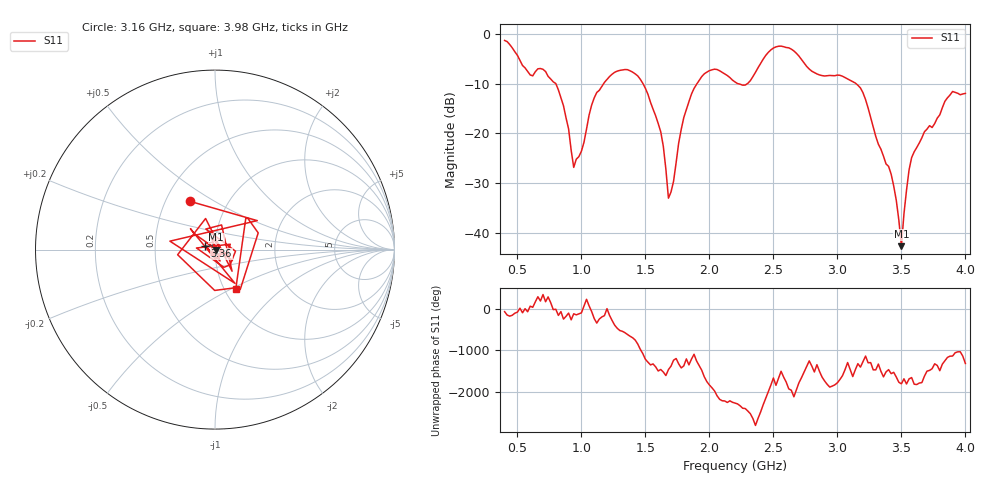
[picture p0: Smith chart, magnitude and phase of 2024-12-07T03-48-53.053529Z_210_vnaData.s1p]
!Created with skrf (http://scikit-rf.org).
# Hz S RI R 50.0
!freq ReS11 ImS11
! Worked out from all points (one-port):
!   181 points, 400 MHz to 4 GHz, reference 50 ohm
!   lowest |S11| = -42.6 dB at 3.5 GHz (marker M1), VSWR 1.01, Z = 50.7 - j0.126 ohm
!   |S11| at or under -10 dB: 800 MHz to 1.174 GHz (374.2 MHz wide, 37.9 % of centre); 1.481 GHz to 1.904 GHz (423.1 MHz wide, 25 % of centre); 3.145 GHz to end of sweep (the widest 3 of 4)
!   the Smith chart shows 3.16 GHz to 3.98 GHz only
!   S11 on the Smith chart (normalised r, x): 3.16 GHz: 0.66, +0.39; 3.36 GHz: 0.89, +0.04; 3.98 GHz: 1.13, -0.53
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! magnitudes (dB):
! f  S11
! 400 MHz  -1.4
! 600 MHz  -8.3
! 720 MHz  -7.6
! 860 MHz  -14.5
! 940 MHz  -26.8
! 1.12 GHz  -11.8
! 1.3 GHz  -7.4
! 1.52 GHz  -12.2
! 1.62 GHz  -19.7
! 1.68 GHz  -33.0
! 1.72 GHz  -29.6
! 1.76 GHz  -21.9
! 1.86 GHz  -12.1
! 1.94 GHz  -8.6
! 2.2 GHz  -9.7
! 2.3 GHz  -10.0
! 2.5 GHz  -2.9
! 2.66 GHz  -3.5
! 2.82 GHz  -7.8
! 3.1 GHz  -9.4
! 3.16 GHz  -10.3
! 3.36 GHz  -24.6
! 3.44 GHz  -30.6
! 3.5 GHz  -42.6
! 3.56 GHz  -27.3
! 3.84 GHz  -13.6
! 3.98 GHz  -12.1
! 4 GHz  -12.0
